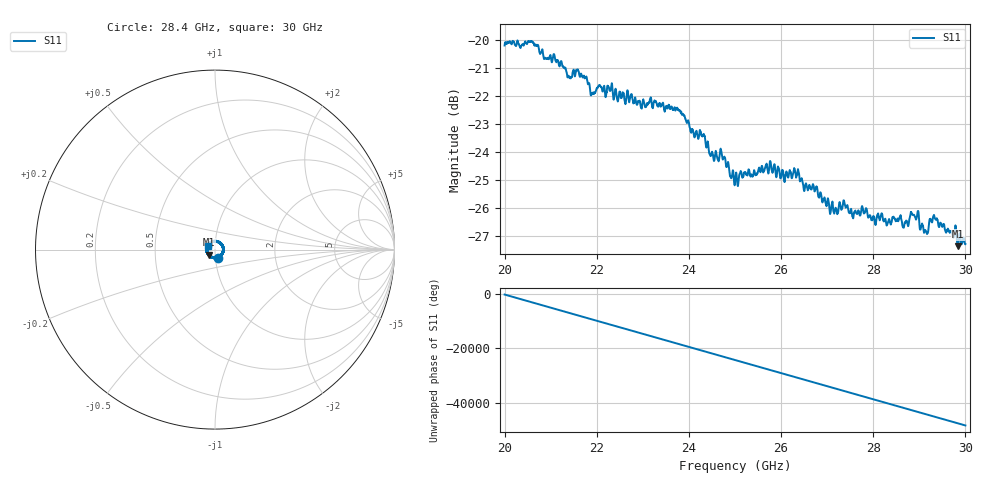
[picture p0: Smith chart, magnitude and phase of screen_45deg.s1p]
#  HZ  S  RI  R  50.00
! Rohde & Schwarz ZVA40 4Ports - Version 3.90 - 1145.1110k42 SN: 100403
! Date: 2023-09-30 08:11:44
! Measurement: S12
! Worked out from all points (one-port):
!   5001 points, 20 GHz to 30 GHz, reference 50 ohm
!   lowest |S11| = -27.4 dB at 29.83 GHz (marker M1), VSWR 1.09, Z = 46.8 - j2.69 ohm
!   |S11| at or under -10 dB: start of sweep to end of sweep
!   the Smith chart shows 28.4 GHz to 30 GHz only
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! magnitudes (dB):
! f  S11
! 20 GHz  -20.2
! 20.58 GHz  -20.1
! 20.89 GHz  -20.7
! 21.25 GHz  -20.9
! 21.41 GHz  -21.4
! 21.75 GHz  -21.4
! 21.91 GHz  -21.9
! 22.06 GHz  -21.6
! 22.5 GHz  -21.9
! 23.75 GHz  -22.4
! 24.08 GHz  -23.2
! 24.3 GHz  -23.4
! 24.5 GHz  -24.0
! 24.73 GHz  -24.2
! 25 GHz  -25.1
! 25.73 GHz  -24.8
! 26.25 GHz  -24.8
! 26.54 GHz  -25.1
! 26.74 GHz  -25.4
! 27.1 GHz  -25.9
! 27.39 GHz  -25.9
! 27.5 GHz  -26.2
! 28.75 GHz  -26.6
! 28.94 GHz  -26.4
! 29.15 GHz  -26.9
! 29.34 GHz  -26.4
! 29.83 GHz  -27.4
! 30 GHz  -27.3
